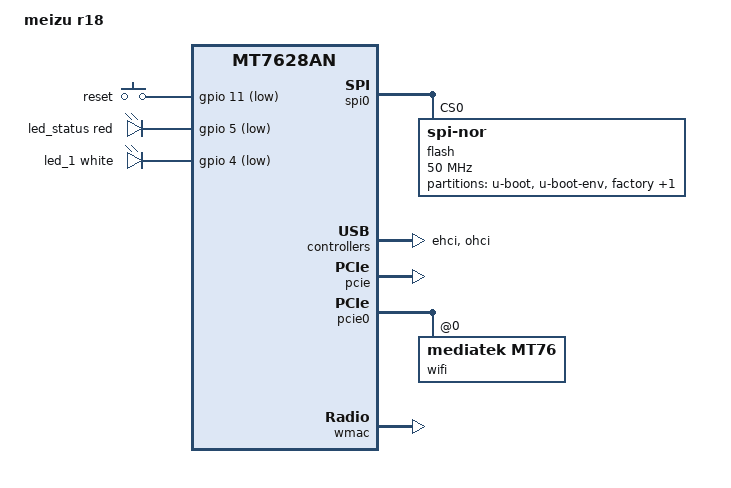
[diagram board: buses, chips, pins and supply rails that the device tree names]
// SPDX-License-Identifier: GPL-2.0-or-later OR MIT

#include "mt7628an.dtsi"

#include <dt-bindings/gpio/gpio.h>
#include <dt-bindings/input/input.h>
#include <dt-bindings/leds/common.h>

/ {
	compatible = "meizu,r18", "mediatek,mt7628an-soc";
	model = "meizu r18";

	aliases {
		led-boot = &led_status;
		led-running = &led_status;
		led-failsafe = &led_status;
		led-upgrade = &led_status;
		label-mac-device = &ethernet;
	};

	chosen {
		bootargs = "console=ttyS0,115200";
	};

	gpio-keys {
		compatible = "gpio-keys";

		reset {
			label = "reset";
			linux,code = <KEY_RESTART>;
			gpios = <&gpio 11 GPIO_ACTIVE_LOW>;
		};
	};

	leds {
		compatible = "gpio-leds";

		led_status: led_0 {
			function = LED_FUNCTION_POWER;
			color = <LED_COLOR_ID_RED>;
			gpios = <&gpio 5 GPIO_ACTIVE_LOW>;
		};

		led_1 {
			function = LED_FUNCTION_STATUS;
			color = <LED_COLOR_ID_WHITE>;
			gpios = <&gpio 4 GPIO_ACTIVE_LOW>;
		};
	};
};

&spi0 {
	status = "okay";

	flash@0 {
		compatible = "jedec,spi-nor";
		reg = <0>;
		spi-max-frequency = <50000000>;

		partitions {
			compatible = "fixed-partitions";
			#address-cells = <1>;
			#size-cells = <1>;

			partition@0 {
				label = "u-boot";
				reg = <0x0 0x30000>;
				read-only;
			};

			partition@30000 {
				label = "u-boot-env";
				reg = <0x30000 0x10000>;
				read-only;
			};

			partition@40000 {
				label = "factory";
				reg = <0x40000 0x10000>;
				read-only;

				nvmem-layout {
					compatible = "fixed-layout";
					#address-cells = <1>;
					#size-cells = <1>;

					eeprom_factory_0: eeprom@0 {
						reg = <0x0 0x400>;
					};

					eeprom_factory_8000: eeprom@8000 {
						reg = <0x8000 0x200>;
					};

	                macaddr_factory_e000: macaddr@e000 {
						reg = <0xe000 0x6>;
					};
				};
			};

			partition@50000 {
				compatible = "denx,uimage";
				label = "firmware";
				reg = <0x50000 0xfa0000>;
			};
		};
	};
};

&state_default {
	gpio {
		groups = "i2c", "gpio", "wdt", "p0led_an", "wled_an";
		function = "gpio";
	};
};

&ehci {
	status = "okay";
};

&ohci {
	status = "okay";
};

&pcie {
	status = "okay";
};

&pcie0 {
	wifi@0,0 {
		compatible = "mediatek,mt76";
		reg = <0x0000 0 0 0 0>;
		nvmem-cells = <&eeprom_factory_8000>, <&macaddr_factory_e000 2>;
		nvmem-cell-names = "eeprom", "mac-address";
		ieee80211-freq-limit = <5000000 6000000>;
	};
};

&wmac {
	status = "okay";

	nvmem-cells = <&eeprom_factory_0>, <&macaddr_factory_e000 0>;
	nvmem-cell-names = "eeprom", "mac-address";
};

&ethernet {
	nvmem-cells = <&macaddr_factory_e000 0>;
	nvmem-cell-names = "mac-address";
};

&esw {
	mediatek,portmap = <0x1f>;
	mediatek,portdisable = <0x00>;
};
